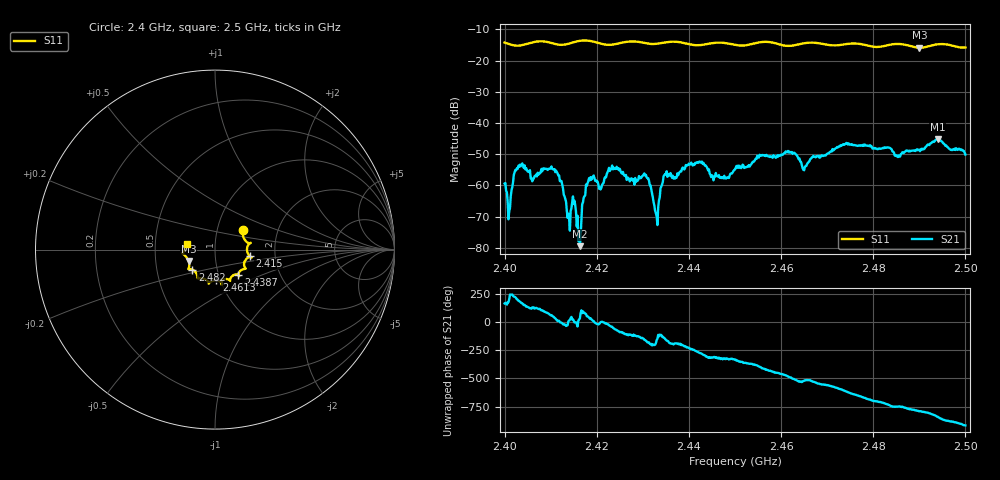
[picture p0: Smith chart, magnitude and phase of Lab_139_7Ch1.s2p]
# Hz S RI R 50
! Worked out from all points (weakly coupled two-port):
!   601 points, 2.4 GHz to 2.5 GHz, reference 50 ohm
!   highest |S21| = -45.17 dB at 2.494 GHz (marker M1); lowest = -79.4 dB at 2.4163 GHz (marker M2)
!   lowest |S11| = -15.9 dB at 2.49 GHz (marker M3), VSWR 1.38, Z = 36.9 - j4.85 ohm
!   |S11| at or under -10 dB: start of sweep to end of sweep
!   S12 and S22 are empty: the file has one direction only
!   S11 on the Smith chart (normalised r, x): 2.4 GHz: 1.33, +0.31; 2.415 GHz: 1.47, -0.11; 2.4387 GHz: 1.24, -0.36; 2.4613 GHz: 0.96, -0.34; 2.482 GHz: 0.76, -0.17; 2.5 GHz: 0.72, +0.05
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2.4e9  0.1577 0.1118  -0.00103 0.000289  0 0  0 0
2.401e9  0.1557 0.0966  -0.000357 -0.000152  0 0  0 0
2.403333e9  0.1642 0.057  -0.00215 1.57e-05  0 0  0 0
2.410333e9  0.187 0.0282  0.00107 0.00149  0 0  0 0
2.413833e9  0.1838 -0.0225  0.000351 3.82e-05  0 0  0 0
2.415e9  0.1925 -0.0363  0.000493 0.000103  0 0  0 0
2.416333e9  0.2021 -0.0435  9.13e-05 5.51e-05  0 0  0 0
2.416667e9  0.2036 -0.0439  -6.59e-05 0.000281  0 0  0 0
2.418167e9  0.2034 -0.0419  0.00082 0.000836  0 0  0 0
2.423833e9  0.1617 -0.0828  0.000899 -0.00163  0 0  0 0
2.430667e9  0.1525 -0.1115  -0.00144 -0.000335  0 0  0 0
2.433333e9  0.1324 -0.1318  -0.00018 -0.00041  0 0  0 0
2.434667e9  0.1306 -0.1429  -0.00115 -0.000911  0 0  0 0
2.438667e9  0.1301 -0.1416  -0.00174 0.000848  0 0  0 0
2.45e9  0.069 -0.1646  0.00164 0.000751  0 0  0 0
2.461333e9  0.00798 -0.1713  -0.00166 -0.00298  0 0  0 0
2.466667e9  -0.0347 -0.1903  -0.00269 -0.000827  0 0  0 0
2.482e9  -0.1261 -0.1113  0.00393 0.000445  0 0  0 0
2.483333e9  -0.1397 -0.1085  0.00392 -0.000999  0 0  0 0
2.49e9  -0.1471 -0.064  0.00122 -0.00352  0 0  0 0
2.494e9  -0.1806 -0.0218  -0.00272 -0.00479  0 0  0 0
2.5e9  -0.1586 0.0327  -0.003 0.000878  0 0  0 0
